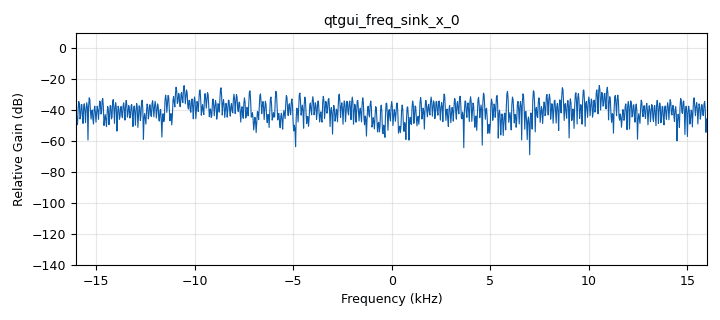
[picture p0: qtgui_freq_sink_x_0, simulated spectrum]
options:
  parameters:
    generate_options: qt_gui
    generator_class_name: PythonQtGuiGenerator
    generator_module: gnuradio.grc.workflows.python_qt_gui
    id: flow
    output_language: python
    title: Not titled yet
  states: {}

blocks:
- name: samp_rate
  id: variable
  parameters:
    value: '32000'
  states: {}
- name: analog_sig_source_x_0
  id: analog_sig_source_x
  parameters:
    amp: '1'
    freq: '1000'
    offset: '0'
    phase: '0'
    samp_rate: '48000'
    type: float
    waveform: analog.GR_COS_WAVE
  states: {}
- name: analog_wfm_rcv_0
  id: analog_wfm_rcv
  parameters:
    audio_decimation: '5'
    quad_rate: '240000'
  states: {}
- name: analog_wfm_tx_0
  id: analog_wfm_tx
  parameters:
    audio_rate: '48000'
    fh: '-1.0'
    max_dev: 75e3
    quad_rate: '240000'
    tau: '75e-6'
  states: {}
- name: audio_sink_0
  id: audio_sink
  parameters:
    samp_rate: '48000'
  states: {}
- name: channels_channel_model_0
  id: channels_channel_model
  parameters:
    epsilon: '1.0'
    freq_offset: '0.0'
    noise_voltage: '0.01'
    seed: '0'
    taps: '1.0'
  states: {}
- name: qtgui_freq_sink_x_0
  id: qtgui_freq_sink_x
  parameters:
    bw: samp_rate
    fc: '0'
    fftsize: '1024'
    type: complex
  states: {}

connections:
- [analog_sig_source_x_0, '0', analog_wfm_tx_0, '0']
- [analog_wfm_rcv_0, '0', audio_sink_0, '0']
- [analog_wfm_tx_0, '0', channels_channel_model_0, '0']
- [channels_channel_model_0, '0', analog_wfm_rcv_0, '0']
- [channels_channel_model_0, '0', qtgui_freq_sink_x_0, '0']

metadata:
  file_format: 1
  grc_version: 3.10.12.0
